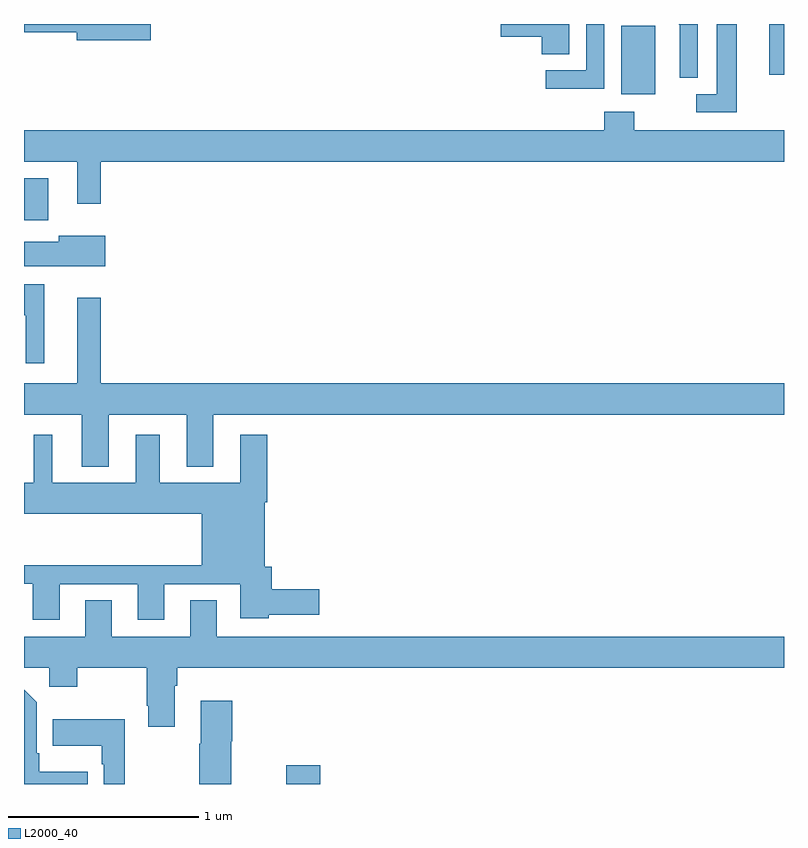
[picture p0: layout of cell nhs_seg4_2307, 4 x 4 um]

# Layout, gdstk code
import gdstk
lib = gdstk.Library(unit=1e-6, precision=1e-09)
def R(c, l, rs):  # rectangles x0, y0, x1, y1
    for r in rs: c.add(gdstk.rectangle(r[:2], r[2:], *l))
def P(c, l, *ps):  # polygons
    for p in ps: c.add(gdstk.Polygon(p, *l))
L2000_40 = (2000, 40)

nhs_seg4_2307 = lib.new_cell('nhs_seg4_2307')
R(nhs_seg4_2307, L2000_40, [(232.381,770.9,232.559,770.998), (231,773.867,231.127,774.088), (234.143,774.53,234.322,774.891), (234.923,774.633,235,774.9)])
P(nhs_seg4_2307, L2000_40, [(234.751,774.9),(234.647,774.9),(234.647,774.531),(234.537,774.531),(234.537,774.435),(234.751,774.435)],
  [(231.667,774.9),(231,774.9),(231,774.856),(231.278,774.856),(231.278,774.814),(231.667,774.814)],
  [(233.869,774.9),(233.508,774.9),(233.508,774.833),(233.726,774.833),(233.726,774.742),(233.869,774.742)],
  [(234.054,774.9),(233.958,774.9),(233.958,774.657),(233.745,774.657),(233.745,774.559),(234.054,774.559)],
  [(234.546,774.9),(234.445,774.9),(234.452,774.893),(234.452,774.77),(234.45,774.77),(234.45,774.616),(234.546,774.616)],
  [(231.403,774.176),(235,774.176),(235,774.34),(234.213,774.34),(234.213,774.439),(234.053,774.439),(234.053,774.34),(231,774.34),(231,774.176),(231.281,774.176),(231.281,773.955),(231.403,773.955)],
  [(231.427,773.785),(231.182,773.785),(231.182,773.753),(231,773.753),(231,773.624),(231.427,773.624)],
  [(231.106,773.53),(231,773.53),(231,773.366),(231.008,773.366),(231.008,773.115),(231.106,773.115)],
  [(231.445,772.844),(231.857,772.844),(231.857,772.571),(231.997,772.571),(231.997,772.844),(235,772.844),(235,773.008),(231.403,773.008),(231.403,773.458),(231.281,773.458),(231.281,773.008),(231,773.008),(231,772.844),(231.305,772.844),(231.305,772.571),(231.445,772.571)],
  [(231.187,771.951),(231.599,771.951),(231.599,771.765),(231.739,771.765),(231.739,771.951),(232.139,771.951),(232.139,771.773),(232.287,771.773),(232.287,771.791),(232.555,771.791),(232.555,771.926),(232.304,771.926),(232.304,772.044),(232.267,772.044),(232.267,772.382),(232.28,772.382),(232.28,772.738),(232.139,772.738),(232.139,772.486),(231.715,772.486),(231.715,772.738),(231.587,772.738),(231.587,772.486),(231.148,772.486),(231.148,772.738),(231.05,772.738),(231.05,772.486),(231,772.486),(231,772.322),(231.935,772.322),(231.935,772.052),(231,772.052),(231,771.954),(231.047,771.954),(231.047,771.765),(231.187,771.765)],
  [(231.793,771.416),(231.806,771.416),(231.806,771.512),(235,771.512),(235,771.676),(232.015,771.676),(232.015,771.866),(231.875,771.866),(231.875,771.676),(231.463,771.676),(231.463,771.866),(231.323,771.866),(231.323,771.676),(231,771.676),(231,771.512),(231.132,771.512),(231.132,771.413),(231.279,771.413),(231.279,771.512),(231.646,771.512),(231.646,771.313),(231.653,771.313),(231.653,771.201),(231.793,771.201)],
  [(231.335,770.965),(231.079,770.965),(231.079,771.061),(231.066,771.061),(231.066,771.33),(231,771.396),(231,770.9),(231.335,770.9)],
  [(232.092,771.124),(232.097,771.124),(232.097,771.337),(231.929,771.337),(231.929,771.113),(231.922,771.113),(231.922,770.9),(232.092,770.9)],
  [(231.529,771.241),(231.151,771.241),(231.151,771.101),(231.408,771.101),(231.408,771.005),(231.42,771.005),(231.42,770.9),(231.529,770.9)])

lib.write_gds('nhs_seg4_2307.gds')
